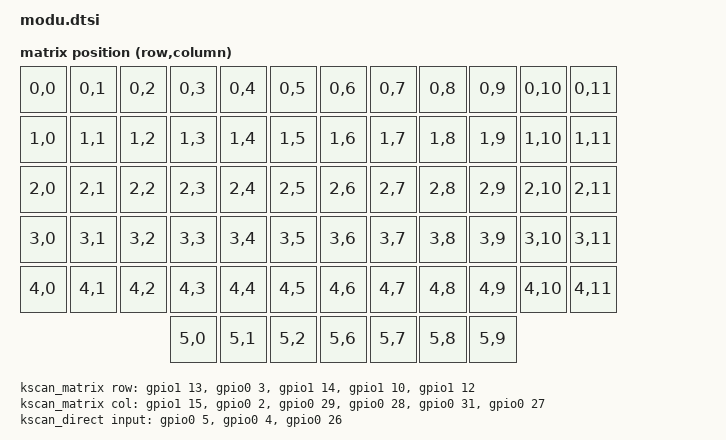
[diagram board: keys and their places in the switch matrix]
/*
 * Copyright (c) 2026 EKS Inc.
 * Created by Ryu.
 * SPDX-License-Identifier: LicenseRef-EKS-NonCommercial-1.0
 */

#include <dt-bindings/zmk/matrix_transform.h>
#include <dt-bindings/input/input-event-codes.h>

/ {
    chosen {
        zmk,kscan = &kscan0;
        zmk,matrix-transform = &default_transform;
    };

    default_transform: keymap_transform_0 {
        compatible = "zmk,matrix-transform";
        columns = <12>;
        rows = <6>;

// | R0C0 | R0C1 | R0C2 | R0C3 | R0C4 | R0C5 |   | R0C0 | R0C1 | R0C2 | R0C3 | R0C4 | R0C5 |
// | R1C0 | R1C1 | R1C2 | R1C3 | R1C4 | R1C5 |   | R1C0 | R1C1 | R1C2 | R1C3 | R1C4 | R1C5 |
// | R2C0 | R2C1 | R2C2 | R2C3 | R2C4 | R2C5 |   | R2C0 | R2C1 | R2C2 | R2C3 | R2C4 | R2C5 |
// | R3C0 | R3C1 | R3C2 | R3C3 | R3C4 | R3C5 |   | R3C0 | R3C1 | R3C2 | R3C3 | R3C4 | R3C5 |
// | R4C0 | R4C1 | R4C2 | R4C3 | R4C4 | R4C5 |   | R4C0 | R4C1 | R4C2 | R4C3 | R4C4 | R4C5 |
//                      | DSW0 | DSW1 | DSW2 |   | DSW0 | DSW1 | DSW2 |  B  |
        map = <
RC(0,0) RC(0,1) RC(0,2) RC(0,3) RC(0,4) RC(0,5)  RC(0,6) RC(0,7) RC(0,8) RC(0,9) RC(0,10) RC(0,11)
RC(1,0) RC(1,1) RC(1,2) RC(1,3) RC(1,4) RC(1,5)  RC(1,6) RC(1,7) RC(1,8) RC(1,9) RC(1,10) RC(1,11)
RC(2,0) RC(2,1) RC(2,2) RC(2,3) RC(2,4) RC(2,5)  RC(2,6) RC(2,7) RC(2,8) RC(2,9) RC(2,10) RC(2,11)
RC(3,0) RC(3,1) RC(3,2) RC(3,3) RC(3,4) RC(3,5)  RC(3,6) RC(3,7) RC(3,8) RC(3,9) RC(3,10) RC(3,11)
RC(4,0) RC(4,1) RC(4,2) RC(4,3) RC(4,4) RC(4,5)  RC(4,6) RC(4,7) RC(4,8) RC(4,9) RC(4,10) RC(4,11)
                        RC(5,0) RC(5,1) RC(5,2)  RC(5,6) RC(5,7) RC(5,8) RC(5,9)
        >;
    };

    kscan0: kscan_composite {
        compatible = "zmk,kscan-composite";
        wakeup-source;
        rows = <6>;
        columns = <6>;

        matrix {
            kscan = <&kscan_matrix>;
        };

        direct {
            kscan = <&kscan_direct>;
            row-offset = <5>;
        };
    };

    alt_thumb_kscan: alt_thumb_kscan {
        compatible = "modu,kscan-alt-thumb-remap";
        status = "disabled";
        wakeup-source;
        kscan = <&kscan0>;
        orientation-gpios = <&gpio0 8 (GPIO_ACTIVE_LOW | GPIO_PULL_UP)>;
    };

    kscan_matrix: kscan_matrix {
        compatible = "zmk,kscan-gpio-matrix";
        wakeup-source;
        diode-direction = "col2row";

        row-gpios
            = <&gpio1 13 (GPIO_ACTIVE_HIGH | GPIO_PULL_DOWN)>
            , <&gpio0  3 (GPIO_ACTIVE_HIGH | GPIO_PULL_DOWN)>
            , <&gpio1 14 (GPIO_ACTIVE_HIGH | GPIO_PULL_DOWN)>
            , <&gpio1 10 (GPIO_ACTIVE_HIGH | GPIO_PULL_DOWN)>
            , <&gpio1 12 (GPIO_ACTIVE_HIGH | GPIO_PULL_DOWN)>
            ;

        col-gpios
            = <&gpio1 15 GPIO_ACTIVE_HIGH>
            , <&gpio0  2 GPIO_ACTIVE_HIGH>
            , <&gpio0 29 GPIO_ACTIVE_HIGH>
            , <&gpio0 28 GPIO_ACTIVE_HIGH>
            , <&gpio0 31 GPIO_ACTIVE_HIGH>
            , <&gpio0 27 GPIO_ACTIVE_HIGH>
            ;
    };

    kscan_direct: kscan_direct {
        compatible = "zmk,kscan-gpio-direct";
        wakeup-source;

        input-gpios
            = <&gpio0  5 (GPIO_ACTIVE_LOW | GPIO_PULL_UP)>
            , <&gpio0  4 (GPIO_ACTIVE_LOW | GPIO_PULL_UP)>
            , <&gpio0 26 (GPIO_ACTIVE_LOW | GPIO_PULL_UP)>
            ;
    };
};

/ {
    chosen {
        zmk,battery = &vbatt;
    };

    vbatt: vbatt {
        compatible = "zmk,battery-voltage-divider";
        io-channels = <&adc 6>;
        output-ohms = <1000>;
        full-ohms = <1000>;
    };
};

/* Status LEDs (PWM breath effect) */
/ {
    pwmleds {
        compatible = "pwm-leds";

        led1: led_1 {
            pwms = <&pwm0 0 PWM_MSEC(20) PWM_POLARITY_NORMAL>;
        };
        led2: led_2 {
            pwms = <&pwm0 1 PWM_MSEC(20) PWM_POLARITY_NORMAL>;
        };
        led3: led_3 {
            pwms = <&pwm0 2 PWM_MSEC(20) PWM_POLARITY_NORMAL>;
        };
    };

    aliases {
        led-status1 = &led1;
        led-status2 = &led2;
        led-status3 = &led3;
    };
};

/* PMW3610 Trackball - present on both sides */
&spi0 {
    status = "okay";
    cs-gpios = <&gpio0 21 GPIO_ACTIVE_LOW>;

    trackball: trackball@0 {
        compatible = "pixart,pmw3610-alt";
        status = "okay";
        reg = <0>;
        spi-max-frequency = <2000000>;
        irq-gpios = <&gpio0 17 (GPIO_ACTIVE_LOW | GPIO_PULL_UP)>;
        cpi = <600>;
        evt-type = <INPUT_EV_REL>;
        x-input-code = <INPUT_REL_X>;
        y-input-code = <INPUT_REL_Y>;
    };
};

/*
 * Dual trackball wiring:
 * - Central listens to its local trackball directly via `trackball_listener`.
 * - Peripheral forwards its local trackball to central via `trackball_split`,
 *   which the central exposes as an input device for `peripheral_trackball_listener`.
 * Both listeners are disabled here and enabled in the central overlay only.
 */
/ {
    split_inputs {
        #address-cells = <1>;
        #size-cells = <0>;

        trackball_split: trackball_split@0 {
            compatible = "zmk,input-split";
            reg = <0>;
        };
    };

    trackball_listener: trackball_listener {
        compatible = "zmk,input-listener";
        status = "disabled";
        device = <&trackball>;
    };

    peripheral_trackball_listener: peripheral_trackball_listener {
        compatible = "zmk,input-listener";
        status = "disabled";
        device = <&trackball_split>;
    };
};
